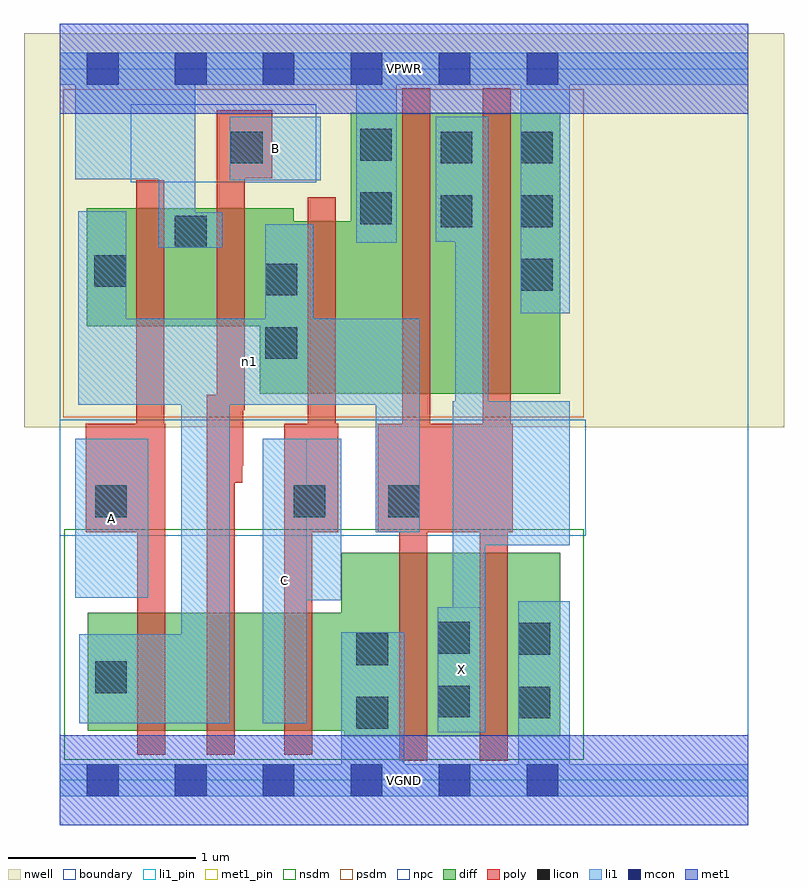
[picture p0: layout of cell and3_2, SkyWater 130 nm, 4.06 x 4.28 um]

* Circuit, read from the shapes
.subckt and3_2 A B C VGND VPWR X n1
XM1 n2 A n1 VSUBS sky130_fd_pr__nfet_01v8 w=0.63 l=0.15
XM2 n3 B n2 VSUBS sky130_fd_pr__nfet_01v8 w=0.63 l=0.15
XM3 VGND C n3 VSUBS sky130_fd_pr__nfet_01v8 w=0.63 l=0.15
XM4 X n1 VGND VSUBS sky130_fd_pr__nfet_01v8 w=0.98 l=0.15 m=2
XM5 VPWR A n1 n4 sky130_fd_pr__pfet_01v8 w=0.63 l=0.15
XM6 n1 B VPWR n4 sky130_fd_pr__pfet_01v8 w=0.63 l=0.15
XM7 VPWR C n1 n4 sky130_fd_pr__pfet_01v8 w=0.92 l=0.15
XM8 X n1 VPWR n4 sky130_fd_pr__pfet_01v8 w=1.5 l=0.15 m=2
.ends

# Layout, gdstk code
import gdstk
lib = gdstk.Library(unit=1e-6, precision=1e-09)
def R(c, l, rs):  # rectangles x0, y0, x1, y1
    for r in rs: c.add(gdstk.rectangle(r[:2], r[2:], *l))
def A(c, l, x, y, w, h, nx, ny, dx, dy):  # array of equal rectangles
    R(c, l, [(x+i*dx, y+j*dy, x+i*dx+w, y+j*dy+h) for i in range(nx) for j in range(ny)])
nwell = (64, 20)
diff = (65, 20)
poly = (66, 20)
licon = (66, 44)
li1_pin = (67, 16)
li1 = (67, 20)
mcon = (67, 44)
met1_pin = (68, 16)
met1 = (68, 20)
nsdm = (93, 44)
psdm = (94, 20)
npc = (95, 20)
boundary = (235, 4)

and3_2 = lib.new_cell('and3_2')
R(and3_2, nwell, [(-0.19,1.885,3.87,3.99), (0,1.885,3.68,3.99)])
R(and3_2, diff, [(1.52,0.235,2.675,1.215), (0.15,0.265,2.675,0.895), (1.505,0.265,2.675,1.215), (1.07,2.065,2.675,2.985), (1.555,2.065,2.675,3.565), (0.145,2.425,1.25,3.055)])
R(and3_2, poly, [(1.815,0.105,1.965,1.905), (2.245,0.105,2.395,1.905), (0.415,0.135,0.565,1.905), (0.785,0.135,0.935,2.06), (1.2,0.135,1.35,1.905), (0.14,1.325,0.565,1.905), (0.41,1.325,0.56,3.205), (1.2,1.325,1.49,1.905), (1.35,1.325,1.475,3.115), (1.7,1.325,2.42,1.905), (1.83,1.325,1.98,3.695), (2.26,1.325,2.41,3.695), (0.785,1.59,0.975,2.06), (0.84,1.68,0.98,3.58), (1.325,1.905,1.475,3.115), (0.84,1.975,0.99,3.58), (0.84,3.215,1.135,3.58)])
A(and3_2, licon, 2.465, 2.615, 0.17, 0.17, 1, 3, 0, 0.34)
R(and3_2, licon, [(1.585,0.275,1.755,0.445), (2.45,0.33,2.62,0.5), (2.02,0.335,2.19,0.505), (0.19,0.465,0.36,0.635), (1.585,0.615,1.755,0.785), (2.45,0.67,2.62,0.84), (2.02,0.675,2.19,0.845), (0.19,1.405,0.36,1.575), (1.25,1.405,1.42,1.575), (1.755,1.405,1.925,1.575), (1.1,2.25,1.27,2.42), (1.1,2.59,1.27,2.76), (0.185,2.635,0.355,2.805), (0.615,2.845,0.785,3.015), (2.035,2.955,2.205,3.125), (1.605,2.97,1.775,3.14), (0.915,3.295,1.085,3.465), (2.035,3.295,2.205,3.465), (1.605,3.31,1.775,3.48)])
R(and3_2, li1_pin, [(2.02,0.255,2.275,0.925), (1.085,0.305,1.32,1.825), (0.085,0.975,0.475,1.825), (0.91,3.205,1.395,3.545)])
R(and3_2, li1, [(0,-0.085,3.68,0.085), (1.505,-0.085,1.84,0.79), (2.45,-0.085,2.725,0.955), (2.02,0.255,2.275,0.925), (2.1,0.255,2.275,2.025), (0.105,0.305,0.91,0.78), (0.65,0.305,0.91,2.465), (1.085,0.305,1.32,1.825), (1.085,0.96,1.505,1.825), (0.085,0.975,0.475,1.825), (2.1,1.255,2.725,2.025), (2.115,1.255,2.29,3.545), (1.69,1.325,1.925,2.465), (0.1,2.005,1.925,2.465), (0.1,2.005,0.355,3.04), (1.1,2.005,1.355,2.97), (2.465,2.495,2.725,3.885), (0.53,2.845,0.725,3.885), (0.53,2.845,0.87,3.035), (1.585,2.87,1.8,3.885), (2.01,2.875,2.29,3.545), (0.91,3.205,1.395,3.545), (0.085,3.21,0.725,3.715), (0,3.715,3.68,3.885)])
A(and3_2, mcon, 0.145, -0.085, 0.17, 0.17, 6, 2, 0.47, 3.8)
R(and3_2, met1_pin, [(0,-0.24,3.68,0.24), (0,3.56,3.68,4.04)])
R(and3_2, met1, [(0,-0.24,3.68,0.24), (0,3.56,3.68,4.04)])
R(and3_2, nsdm, [(0.025,0.11,2.8,1.34)])
R(and3_2, psdm, [(0.02,1.94,2.8,3.69)])
R(and3_2, npc, [(0,1.305,2.81,1.925), (0.38,3.195,1.37,3.61)])
R(and3_2, boundary, [(0,0,3.68,3.8)])
and3_2.add(gdstk.Label('A', (0.28,1.4), layer=67, texttype=5))
and3_2.add(gdstk.Label('B', (1.152,3.375), layer=67, texttype=5))
and3_2.add(gdstk.Label('C', (1.202,1.065), layer=67, texttype=5))
and3_2.add(gdstk.Label('X', (2.147,0.59), layer=67, texttype=5))
and3_2.add(gdstk.Label('n1', (1.012,2.235), layer=67, texttype=5))
and3_2.add(gdstk.Label('VPWR', (1.84,3.8), layer=68, texttype=5))
and3_2.add(gdstk.Label('VGND', (1.84,0), layer=68, texttype=5))
and3_2.add(gdstk.Label('A', (0.28,1.4), layer=67, texttype=16))
and3_2.add(gdstk.Label('B', (1.152,3.375), layer=67, texttype=16))
and3_2.add(gdstk.Label('C', (1.202,1.065), layer=67, texttype=16))
and3_2.add(gdstk.Label('X', (2.147,0.59), layer=67, texttype=16))
and3_2.add(gdstk.Label('VPWR', (1.84,3.8), layer=68, texttype=16))
and3_2.add(gdstk.Label('VGND', (1.84,0), layer=68, texttype=16))

lib.write_gds('and3_2.gds')
